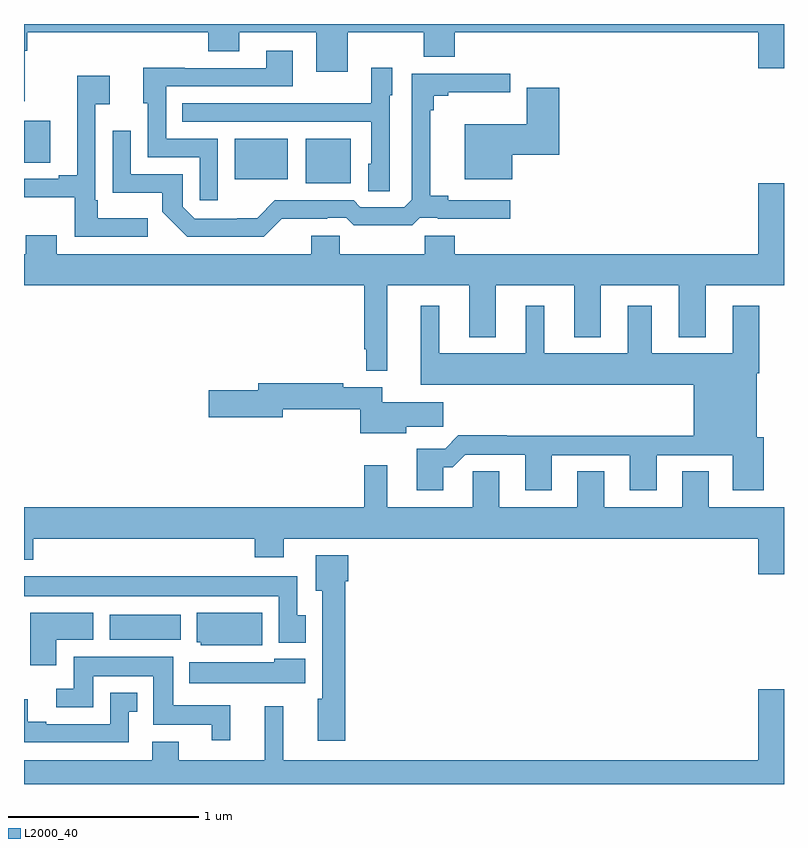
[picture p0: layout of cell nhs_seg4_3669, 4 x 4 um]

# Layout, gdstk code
import gdstk
lib = gdstk.Library(unit=1e-6, precision=1e-09)
def R(c, l, rs):  # rectangles x0, y0, x1, y1
    for r in rs: c.add(gdstk.rectangle(r[:2], r[2:], *l))
def P(c, l, *ps):  # polygons
    for p in ps: c.add(gdstk.Polygon(p, *l))
L2000_40 = (2000, 40)

nhs_seg4_3669 = lib.new_cell('nhs_seg4_3669')
R(nhs_seg4_3669, L2000_40, [(305.45,757.658,305.824,757.792), (306.482,760.061,306.721,760.297), (306.11,760.082,306.388,760.297), (305,760.171,305.137,760.39)])
P(nhs_seg4_3669, L2000_40, [(305.005,760.76),(305.018,760.76),(305.018,760.856),(305.969,760.856),(305.969,760.757),(306.133,760.757),(306.133,760.856),(306.539,760.856),(306.539,760.65),(306.703,760.65),(306.703,760.856),(307.103,760.856),(307.103,760.728),(307.267,760.728),(307.267,760.856),(308.864,760.856),(308.864,760.668),(309,760.668),(309,760.9),(305,760.9),(305,760.494),(305.005,760.494)],
  [(306.021,760.296),(305.748,760.296),(305.748,760.572),(306.415,760.572),(306.415,760.759),(306.275,760.759),(306.275,760.668),(305.845,760.668),(305.845,760.67),(305.627,760.67),(305.627,760.482),(305.652,760.482),(305.652,760.2),(305.925,760.2),(305.925,759.972),(306.021,759.972)],
  [(306.924,760.524),(306.937,760.524),(306.937,760.669),(306.828,760.669),(306.828,760.483),(306.511,760.483),(306.511,760.482),(305.833,760.482),(305.833,760.386),(306.828,760.386),(306.828,760.164),(306.812,760.164),(306.812,760.021),(306.924,760.021)],
  [(306.356,759.875),(306.596,759.875),(306.596,759.879),(306.696,759.879),(306.736,759.84),(307.043,759.84),(307.083,759.879),(307.177,759.879),(307.177,759.875),(307.558,759.875),(307.558,759.972),(307.234,759.972),(307.234,759.995),(307.139,759.995),(307.139,760.445),(307.157,760.445),(307.157,760.522),(307.234,760.522),(307.234,760.541),(307.558,760.541),(307.558,760.638),(307.041,760.638),(307.041,759.975),(307.002,759.936),(306.771,759.936),(306.735,759.972),(306.321,759.972),(306.227,759.878),(306.122,759.878),(306.122,759.876),(305.898,759.876),(305.835,759.939),(305.835,760.11),(305.562,760.11),(305.562,760.339),(305.466,760.339),(305.466,760.013),(305.728,760.013),(305.728,759.911),(305.858,759.78),(306.261,759.78)],
  [(305.65,759.877),(305.389,759.877),(305.389,759.973),(305.376,759.973),(305.376,760.478),(305.452,760.478),(305.452,760.627),(305.279,760.627),(305.279,760.105),(305.183,760.105),(305.183,760.086),(305,760.086),(305,759.989),(305.268,759.989),(305.268,759.78),(305.65,759.78)],
  [(307.57,760.211),(307.817,760.211),(307.817,760.564),(307.646,760.564),(307.646,760.372),(307.319,760.372),(307.319,760.082),(307.57,760.082)],
  [(306.913,759.524),(307.343,759.524),(307.343,759.251),(307.483,759.251),(307.483,759.524),(307.895,759.524),(307.895,759.251),(308.035,759.251),(308.035,759.524),(308.447,759.524),(308.447,759.251),(308.587,759.251),(308.587,759.524),(309,759.524),(309,760.063),(308.864,760.063),(308.864,759.688),(307.268,759.688),(307.268,759.786),(307.108,759.786),(307.108,759.688),(306.663,759.688),(306.663,759.786),(306.512,759.786),(306.512,759.688),(305.173,759.688),(305.173,759.787),(305.009,759.787),(305.009,759.688),(305,759.688),(305,759.524),(306.792,759.524),(306.792,759.187),(306.802,759.187),(306.802,759.075),(306.913,759.075)],
  [(307.207,758.567),(307.256,758.567),(307.323,758.634),(307.637,758.634),(307.637,758.445),(307.777,758.445),(307.777,758.631),(308.189,758.631),(308.189,758.445),(308.329,758.445),(308.329,758.631),(308.729,758.631),(308.729,758.445),(308.894,758.445),(308.894,758.724),(308.857,758.724),(308.857,759.062),(308.87,759.062),(308.87,759.418),(308.729,759.418),(308.729,759.166),(308.305,759.166),(308.305,759.418),(308.177,759.418),(308.177,759.166),(307.738,759.166),(307.738,759.418),(307.64,759.418),(307.64,759.166),(307.186,759.166),(307.186,759.418),(307.088,759.418),(307.088,759.002),(308.525,759.002),(308.525,758.732),(307.541,758.732),(307.541,758.735),(307.286,758.735),(307.216,758.665),(307.067,758.665),(307.067,758.445),(307.207,758.445)],
  [(307.012,758.779),(307.207,758.779),(307.207,758.908),(306.886,758.908),(306.886,758.988),(306.68,758.988),(306.68,759.008),(306.233,759.008),(306.233,758.972),(305.973,758.972),(305.973,758.83),(306.361,758.83),(306.361,758.872),(306.769,758.872),(306.769,758.747),(307.012,758.747)],
  [(309,758.356),(308.605,758.356),(308.605,758.546),(308.465,758.546),(308.465,758.356),(308.053,758.356),(308.053,758.546),(307.913,758.546),(307.913,758.356),(307.501,758.356),(307.501,758.546),(307.362,758.546),(307.362,758.356),(306.913,758.356),(306.913,758.578),(306.792,758.578),(306.792,758.356),(305,758.356),(305,758.081),(305.048,758.081),(305.048,758.192),(306.215,758.192),(306.215,758.093),(306.367,758.093),(306.367,758.192),(308.864,758.192),(308.864,758.004),(309,758.004)],
  [(306.692,757.968),(306.707,757.968),(306.707,758.104),(306.536,758.104),(306.536,757.917),(306.569,757.917),(306.569,757.35),(306.545,757.35),(306.545,757.128),(306.692,757.128)],
  [(306.484,757.788),(306.439,757.788),(306.439,757.993),(305,757.993),(305,757.889),(306.342,757.889),(306.342,757.644),(306.484,757.644)],
  [(306.253,757.801),(305.909,757.801),(305.909,757.647),(305.931,757.647),(305.931,757.631),(306.253,757.631)],
  [(305.17,757.658),(305.365,757.658),(305.365,757.801),(305.033,757.801),(305.033,757.524),(305.17,757.524)],
  [(306.086,757.315),(305.785,757.315),(305.785,757.57),(305.261,757.57),(305.261,757.401),(305.169,757.401),(305.169,757.305),(305.365,757.305),(305.365,757.466),(305.681,757.466),(305.681,757.211),(305.987,757.211),(305.987,757.131),(306.086,757.131)],
  [(306.481,757.558),(306.318,757.558),(306.318,757.54),(305.87,757.54),(305.87,757.43),(306.481,757.43)],
  [(309,757.399),(308.864,757.399),(308.864,757.024),(306.365,757.024),(306.365,757.309),(306.266,757.309),(306.266,757.024),(305.815,757.024),(305.815,757.123),(305.675,757.123),(305.675,757.024),(305,757.024),(305,756.9),(309,756.9)],
  [(305.55,757.281),(305.596,757.281),(305.596,757.381),(305.454,757.381),(305.454,757.215),(305.116,757.215),(305.116,757.228),(305.02,757.228),(305.02,757.345),(305,757.345),(305,757.119),(305.55,757.119)])

lib.write_gds('nhs_seg4_3669.gds')
